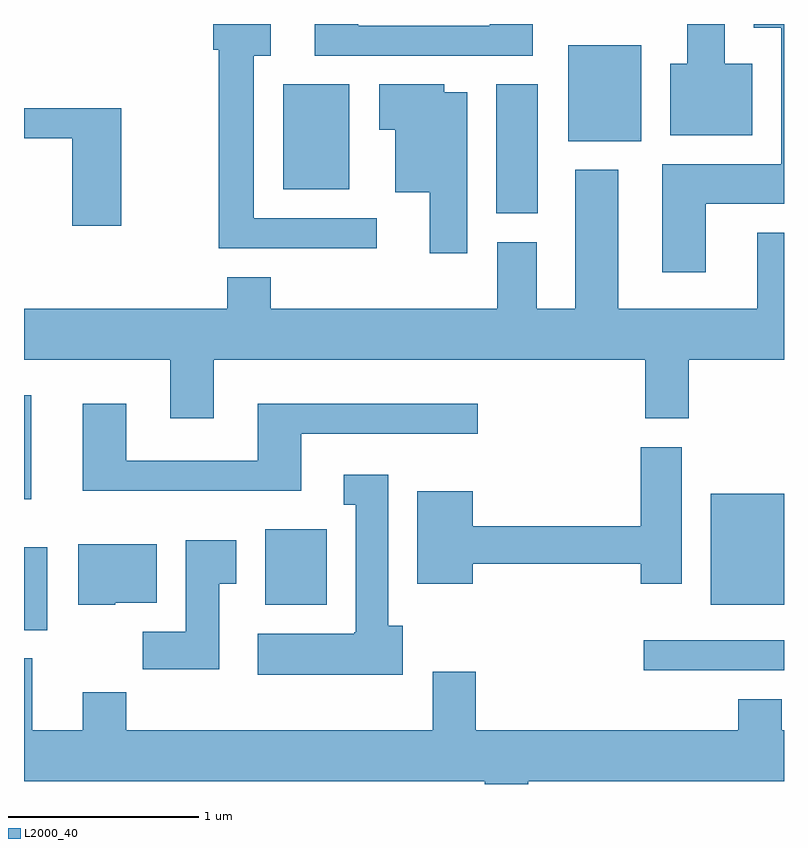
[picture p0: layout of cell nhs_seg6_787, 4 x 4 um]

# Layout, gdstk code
import gdstk
lib = gdstk.Library(unit=1e-6, precision=1e-09)
def R(c, l, rs):  # rectangles x0, y0, x1, y1
    for r in rs: c.add(gdstk.rectangle(r[:2], r[2:], *l))
def P(c, l, *ps):  # polygons
    for p in ps: c.add(gdstk.Polygon(p, *l))
L2000_40 = (2000, 40)

nhs_seg6_787 = lib.new_cell('nhs_seg6_787')
R(nhs_seg6_787, L2000_40, [(210.873,1632.761,211.611,1632.919), (207.611,1632.971,207.734,1633.409), (208.881,1633.106,209.204,1633.504), (211.226,1633.106,211.611,1633.689), (207.611,1633.661,207.649,1634.208), (210.096,1635.166,210.314,1635.844), (208.976,1635.291,209.324,1635.844), (210.476,1635.546,210.859,1636.049)])
P(nhs_seg6_787, L2000_40, [(211.444,1635.954),(211.299,1635.954),(211.299,1636.162),(211.101,1636.162),(211.101,1635.954),(211.011,1635.954),(211.011,1635.576),(211.444,1635.576)],
  [(211.199,1635.216),(211.611,1635.216),(211.611,1636.162),(211.451,1636.162),(211.451,1636.141),(211.596,1636.141),(211.596,1635.424),(210.971,1635.424),(210.971,1634.856),(211.199,1634.856)],
  [(210.289,1636.162),(210.061,1636.162),(210.061,1636.154),(209.369,1636.154),(209.369,1636.162),(209.141,1636.162),(209.141,1635.996),(210.289,1635.996)],
  [(209.468,1635.139),(208.819,1635.139),(208.819,1635.996),(208.909,1635.996),(208.909,1636.162),(208.606,1636.162),(208.606,1636.026),(208.636,1636.026),(208.636,1634.981),(209.468,1634.981)],
  [(209.944,1635.804),(209.824,1635.804),(209.824,1635.844),(209.481,1635.844),(209.481,1635.606),(209.566,1635.606),(209.566,1635.276),(209.746,1635.276),(209.746,1634.956),(209.944,1634.956)],
  [(208.124,1635.719),(207.611,1635.719),(207.611,1635.561),(207.866,1635.561),(207.866,1635.101),(208.124,1635.101)],
  [(208.609,1634.396),(210.881,1634.396),(210.881,1634.086),(211.109,1634.086),(211.109,1634.396),(211.611,1634.396),(211.611,1635.064),(211.471,1635.064),(211.471,1634.664),(210.739,1634.664),(210.739,1635.394),(210.511,1635.394),(210.511,1634.664),(210.309,1634.664),(210.309,1635.014),(210.101,1635.014),(210.101,1634.664),(208.909,1634.664),(208.909,1634.829),(208.681,1634.829),(208.681,1634.664),(207.611,1634.664),(207.611,1634.396),(208.381,1634.396),(208.381,1634.086),(208.609,1634.086)],
  [(209.069,1634.006),(209.998,1634.006),(209.998,1634.164),(208.841,1634.164),(208.841,1633.864),(208.149,1633.864),(208.149,1634.164),(207.921,1634.164),(207.921,1633.706),(209.069,1633.706)],
  [(209.974,1633.321),(210.856,1633.321),(210.856,1633.216),(211.074,1633.216),(211.074,1633.934),(210.856,1633.934),(210.856,1633.519),(209.974,1633.519),(209.974,1633.704),(209.681,1633.704),(209.681,1633.216),(209.974,1633.216)],
  [(209.604,1632.994),(209.529,1632.994),(209.529,1633.789),(209.293,1633.789),(209.293,1633.631),(209.356,1633.631),(209.356,1632.96),(209.35,1632.96),(209.35,1632.954),(208.841,1632.954),(208.841,1632.736),(209.604,1632.736)],
  [(208.639,1633.216),(208.729,1633.216),(208.729,1633.444),(208.461,1633.444),(208.461,1632.964),(208.236,1632.964),(208.236,1632.766),(208.639,1632.766)],
  [(208.09,1633.116),(208.309,1633.116),(208.309,1633.424),(207.896,1633.424),(207.896,1633.106),(208.09,1633.106)],
  [(210.264,1632.176),(211.611,1632.176),(211.611,1632.444),(211.599,1632.444),(211.599,1632.609),(211.371,1632.609),(211.371,1632.444),(209.989,1632.444),(209.989,1632.754),(209.761,1632.754),(209.761,1632.444),(208.149,1632.444),(208.149,1632.644),(207.921,1632.644),(207.921,1632.444),(207.654,1632.444),(207.654,1632.823),(207.611,1632.823),(207.611,1632.176),(210.036,1632.176),(210.036,1632.162),(210.264,1632.162)])

lib.write_gds('nhs_seg6_787.gds')
